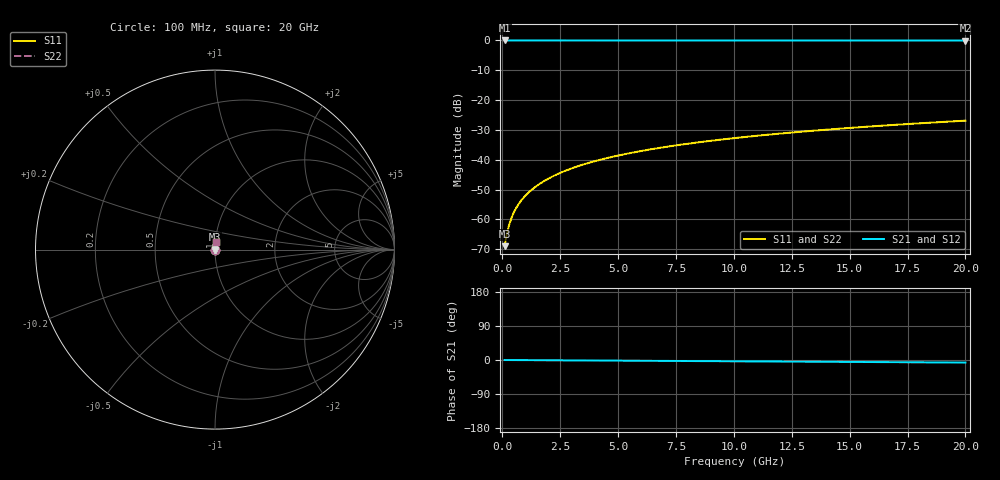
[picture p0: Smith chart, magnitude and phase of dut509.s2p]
! Touchstone file exported from HFSS 2026.1.0
!  File:  C:/ffzhzh/LocalFiles/Ansys_Project_Files/temp_train_TSV_509_1783023254_55676.aedt
!  Generated:  04:16:17 AM Jul  3, 2026
!  Design:  TSV
!  Project:  temp_train_TSV_509_1783023254_55676
! Variables:
!  h_bsmrdl = 2um
!  h_ox = 20um
!  h_rdl = 5um
!  h_sub = 58.94um
!  h_tmrdl = 5um
!  h_tsv = 58.94um
!  h_via = 3um
!  l_bsmrdl = 300um
!  l_sub = 411.52um
!  l_tmrdl = 200um
!  m_sub = 200um
!  pitch = 39.8um
!  r_tsv = 5.76um
!  s_tmrdl = 10um
!  w_bsmrdl = 18um
!  w_sub = 500um
!  w_tmrdl = 12um
!  x_tsv_center1 = 206um
!  x_tsv_center2 = 524um
!  x_tsv_center3 = 736um
!  x_tsv_center4 = 1054um
!  x_tsv_center5 = 1266um
!  x_tsv_center6 = 1584um
# GHz S MA R 50.000000
! Terminal data exported
! Port[1] = TSV1_1_T1
! Port[2] = TSV1_1_T2
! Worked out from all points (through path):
!   200 points, 100 MHz to 20 GHz, reference 50 ohm
!   highest |S21| = 0.00 dB at 100 MHz (marker M1); lowest = 0.0 dB at 20 GHz (marker M2)
!   lowest |S11| = -69.0 dB at 100 MHz (marker M3), VSWR 1.00, Z = 50 + j0.0262 ohm
!   |S11| at or under -10 dB: start of sweep to end of sweep
!   |S22| runs from -69.0 to -26.9 dB; largest |S21 - S12| = 3.1e-15
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0.1  0.0003548 47.6  0.9998 -0.0  0.9998 -0.0  0.0003548 47.6
! Gamma 0 0 0 0
! Port Impedance 50 0 50 0
0.2  0.0005782 64.5  0.9998 -0.1  0.9998 -0.1  0.0005782 64.5
0.3  0.0008209 71.3  0.9997 -0.1  0.9997 -0.1  0.0008209 71.3
0.4  0.001066 74.7  0.9997 -0.1  0.9997 -0.1  0.001066 74.7
0.5  0.00131 76.8  0.9997 -0.2  0.9997 -0.2  0.00131 76.8
0.6  0.001551 78.2  0.9997 -0.2  0.9997 -0.2  0.001551 78.2
0.7  0.00179 79.2  0.9997 -0.2  0.9997 -0.2  0.00179 79.2
0.8  0.002027 80.0  0.9997 -0.3  0.9997 -0.3  0.002027 80.0
1  0.002499 81.2  0.9996 -0.4  0.9996 -0.4  0.002499 81.2
1.4  0.003437 82.7  0.9996 -0.5  0.9996 -0.5  0.003437 82.7
1.7  0.004138 83.3  0.9995 -0.6  0.9995 -0.6  0.004138 83.3
2  0.004839 83.8  0.9995 -0.7  0.9995 -0.7  0.004839 83.8
2.7  0.006468 84.4  0.9994 -0.9  0.9994 -0.9  0.006468 84.4
3.5  0.008316 84.6  0.9994 -1.2  0.9994 -1.2  0.008316 84.6
4.2  0.009921 84.7  0.9993 -1.4  0.9993 -1.4  0.009921 84.7
5  0.01174 84.7  0.9992 -1.7  0.9992 -1.7  0.01174 84.7
6.8  0.01581 84.5  0.999 -2.3  0.999 -2.3  0.01581 84.5
8.3  0.01918 84.3  0.9989 -2.8  0.9989 -2.8  0.01918 84.3
10.1  0.02321 84.0  0.9987 -3.4  0.9987 -3.4  0.02321 84.0
13.4  0.03057 83.2  0.9983 -4.5  0.9983 -4.5  0.03057 83.2
16.7  0.03789 82.3  0.9979 -5.7  0.9979 -5.7  0.03789 82.3
20  0.04516 81.4  0.9975 -6.8  0.9975 -6.8  0.04516 81.4
